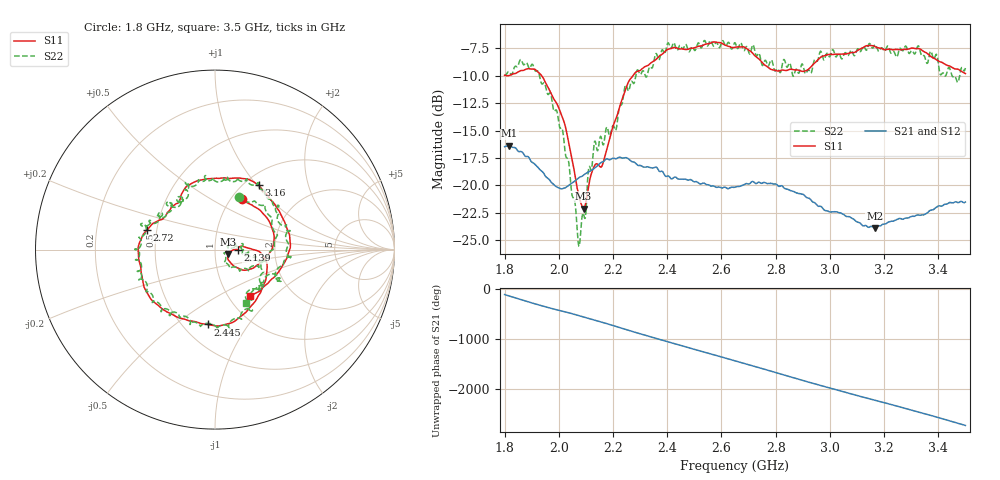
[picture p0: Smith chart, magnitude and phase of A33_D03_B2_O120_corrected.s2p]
! Created with skrf 1.9.0 (http://scikit-rf.org).
# Hz S RI R 50.0
!freq ReS11 ImS11 ReS21 ImS21 ReS12 ImS12 ReS22 ImS22
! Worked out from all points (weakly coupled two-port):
!   1601 points, 1.8 GHz to 3.5 GHz, reference 50 ohm
!   highest |S21| = -16.37 dB at 1.817 GHz (marker M1); lowest = -23.9 dB at 3.165 GHz (marker M2)
!   lowest |S11| = -22.1 dB at 2.091 GHz (marker M3), VSWR 1.17, Z = 57.9 - j2.98 ohm
!   |S11| at or under -10 dB: 1.809172 GHz to 1.812029 GHz (2.857 MHz wide, 0.158 % of centre); 1.937 GHz to 2.274 GHz (336.7 MHz wide, 16 % of centre)
!   |S22| runs from -25.5 to -6.8 dB; largest |S21 - S12| = 0.0026
!   S11 on the Smith chart (normalised r, x): 1.8 GHz: 1.13, +0.70; 2.139 GHz: 1.29, -0.00; 2.445 GHz: 0.65, -0.66; 2.72 GHz: 0.44, +0.11; 3.16 GHz: 1.16, +1.02; 3.5 GHz: 1.26, -0.72
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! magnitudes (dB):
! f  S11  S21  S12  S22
! 1.8 GHz  -10.0  -16.5  -16.5  -9.9
! 1.817 GHz  -10.0  -16.4  -16.4  -9.7
! 1.903 GHz  -9.4  -17.9  -17.9  -9.0
! 1.968 GHz  -11.4  -19.6  -19.6  -11.6
! 2.015 GHz  -13.9  -20.3  -20.3  -15.1
! 2.072 GHz  -20.7  -19.4  -19.4  -25.3
! 2.084 GHz  -21.8  -19.2  -19.1  -23.3
! 2.091 GHz  -22.1  -19.1  -19.1  -22.6
! 2.139 GHz  -18.0  -18.3  -18.3  -16.5
! 2.162 GHz  -18.0  -17.9  -17.8  -16.3
! 2.209 GHz  -14.0  -17.6  -17.5  -15.0
! 2.26 GHz  -10.4  -17.7  -17.7  -11.2
! 2.367 GHz  -8.3  -18.6  -18.5  -8.5
! 2.445 GHz  -7.6  -19.4  -19.4  -7.3
! 2.65 GHz  -7.4  -20.2  -20.1  -7.0
! 2.72 GHz  -8.1  -19.7  -19.6  -7.4
! 2.803 GHz  -9.5  -19.9  -20.0  -9.4
! 2.934 GHz  -9.1  -21.4  -21.4  -9.6
! 3.16 GHz  -7.3  -23.8  -23.8  -7.4
! 3.165 GHz  -7.3  -23.9  -23.9  -7.2
! 3.217 GHz  -7.6  -23.3  -23.3  -7.4
! 3.5 GHz  -9.8  -21.5  -21.5  -9.3
